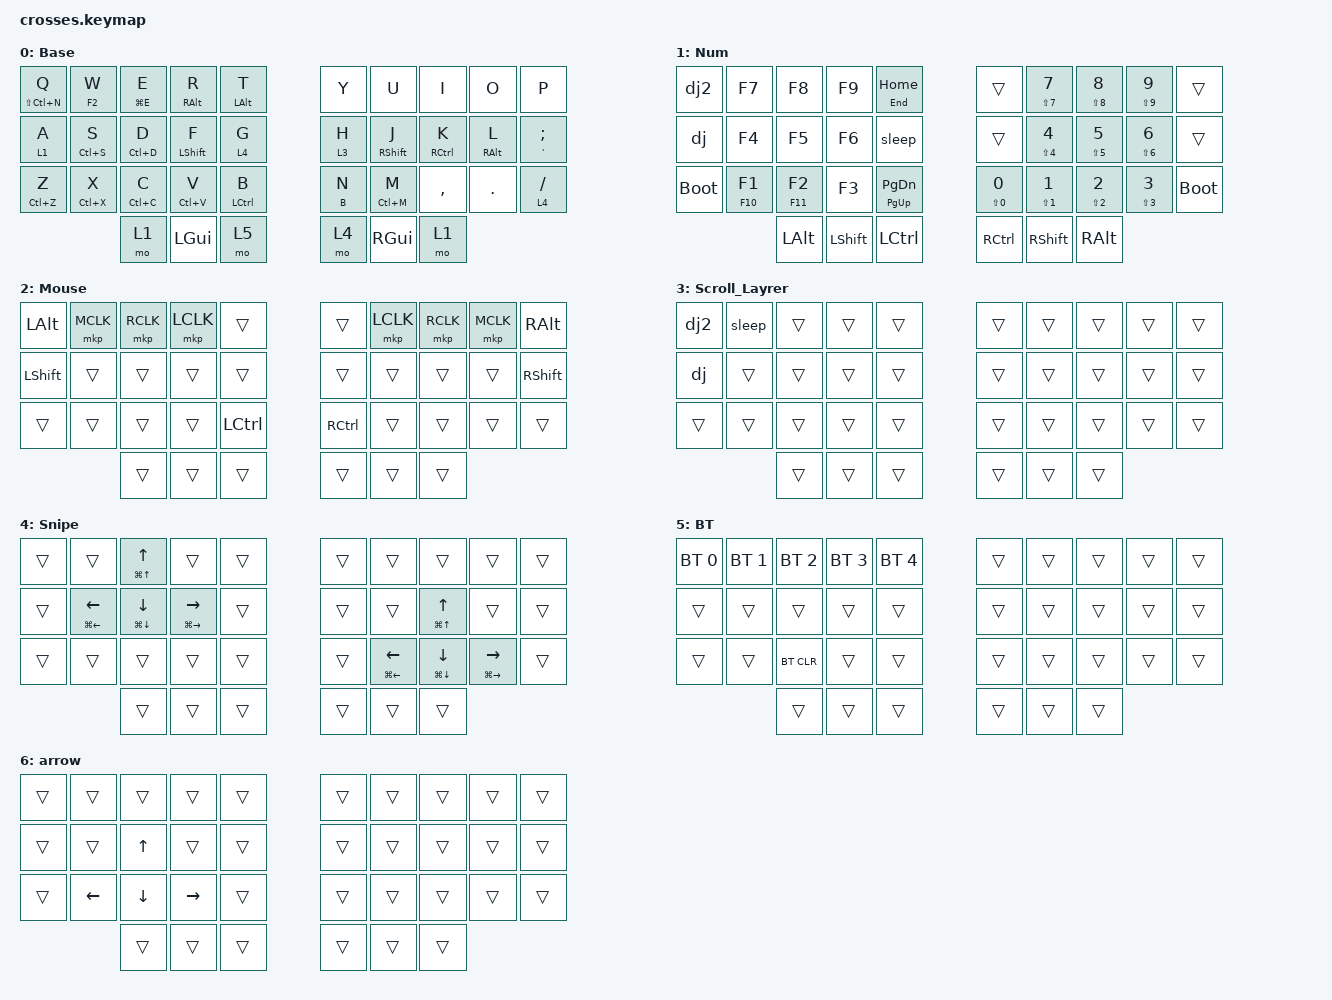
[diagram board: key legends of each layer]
#include <behaviors.dtsi>
#include <dt-bindings/zmk/bt.h>
#include <dt-bindings/zmk/keys.h>
#include <dt-bindings/zmk/pointing.h>

&lt {
    tapping-term-ms = <200>;
    quick-tap-ms = <150>;
    flavor = "balanced";
};

/ {
    chosen { zmk,physical-layout = &gggw_crosses_36_layout; };

    behaviors {
        as: auto_shift {
            compatible = "zmk,behavior-hold-tap";
            #binding-cells = <2>;
            tapping_term_ms = <200>;
            quick_tap_ms = <0>;
            flavor = "tap-preferred";
            bindings = <&kp>, <&kp>;
        };

        hm: my_homerow_mod {
            compatible = "zmk,behavior-hold-tap";
            label = "MY_HOMEROW_MOD";
            bindings = <&kp>, <&kp>;

            #binding-cells = <2>;
            tapping-term-ms = <220>;
            flavor = "tap-preferred";
        };

        hml: hmlayer {
            compatible = "zmk,behavior-hold-tap";
            label = "Home_ROW_Layer";
            bindings = <&mo>, <&kp>;

            #binding-cells = <2>;
            tapping-term-ms = <200>;
            flavor = "tap-preferred";
            quick-tap-ms = <130>;
        };
    };

    combos {
        compatible = "zmk,combos";

        esc_del {
            bindings = <&hm DEL ESC>;
            key-positions = <0 1>;
        };

        exclam {
            bindings = <&kp LS(NUMBER_1)>;
            key-positions = <15 16>;
        };

        slash_quet {
            bindings = <&kp RS(SLASH)>;
            key-positions = <25 16>;
        };

        minus {
            bindings = <&kp MINUS>;
            key-positions = <3 12>;
            layers = <0 2>;
        };

        plus {
            bindings = <&kp EQUAL>;
            key-positions = <3 2>;
            layers = <0 2>;
        };

        space {
            bindings = <&kp SPACE>;
            key-positions = <13 12>;
        };

        enter_left {
            bindings = <&kp ENTER>;
            key-positions = <11 12>;
        };

        backspace_right {
            bindings = <&kp BSPC>;
            key-positions = <16 17>;
        };

        enter_right {
            bindings = <&kp ENTER>;
            key-positions = <17 18>;
        };

        back_left {
            bindings = <&kp BACKSPACE>;
            key-positions = <13 22>;
        };

        brace {
            bindings = <&hm RIGHT_BRACKET RIGHT_PARENTHESIS>;
            key-positions = <8 17>;
        };

        braceL {
            bindings = <&hm LEFT_BRACKET LEFT_PARENTHESIS>;
            key-positions = <1 12>;
        };

        tap {
            bindings = <&kp TAB>;
            key-positions = <13 2>;
        };

        tride {
            bindings = <&kp GRAVE>;
            key-positions = <11 2>;
        };

        delete {
            bindings = <&kp DELETE>;
            key-positions = <16 25>;
        };

        del {
            bindings = <&kp DEL>;
            key-positions = <24 13>;
        };

        capture {
            bindings = <&kp LG(LS(S))>;
            key-positions = <4 3>;
        };

        volumeup {
            bindings = <&kp C_VOLUME_UP>;
            key-positions = <27 28>;
        };

        volumedown {
            bindings = <&kp C_VOLUME_DOWN>;
            key-positions = <26 27>;
        };

        csd {
            bindings = <&kp LC(LS(D))>;
            key-positions = <24 12>;
        };

        p {
            bindings = <&kp P>;
            key-positions = <14 13>;
        };

        f {
            bindings = <&kp NUMBER_4>;
            key-positions = <3 24>;
        };

        preview {
            bindings = <&mkp MB5>;
            key-positions = <3 15>;
        };

        beforef {
            bindings = <&mkp MB4>;
            key-positions = <2 15>;
        };

        wintab {
            bindings = <&kp LG(TAB)>;
            key-positions = <2 13 24>;
        };

        capslock {
            bindings = <&kp CAPS>;
            key-positions = <10 11>;
        };

        mute {
            bindings = <&kp C_MUTE>;
            key-positions = <26 28>;
        };

        n3 {
            bindings = <&kp NUMBER_3>;
            key-positions = <24 2>;
        };

        n2 {
            bindings = <&kp NUMBER_2>;
            key-positions = <24 1>;
        };

        n1 {
            bindings = <&kp NUMBER_1>;
            key-positions = <24 0>;
        };

        n5 {
            bindings = <&kp N5>;
            key-positions = <24 4>;
        };

        n6 {
            bindings = <&kp NUMBER_6>;
            key-positions = <25 5>;
        };

        n7 {
            bindings = <&kp N7>;
            key-positions = <25 6>;
        };

        n8 {
            bindings = <&kp N8>;
            key-positions = <25 7>;
        };

        n9 {
            bindings = <&kp N9>;
            key-positions = <25 8>;
        };

        n0 {
            bindings = <&kp N0>;
            key-positions = <25 9>;
        };

        batang {
            bindings = <&kp LG(D)>;
            key-positions = <4 3 24>;
        };

        n6_l {
            bindings = <&kp NUMBER_6>;
            key-positions = <23 0>;
        };

        n7_l {
            bindings = <&kp N7>;
            key-positions = <23 1>;
        };

        n8_l {
            bindings = <&kp N8>;
            key-positions = <23 2>;
        };

        n9_l {
            bindings = <&kp N9>;
            key-positions = <3 23>;
        };

        n0_l {
            bindings = <&kp N0>;
            key-positions = <23 4>;
        };

        file {
            bindings = <&kp C_AL_FILES>;
            key-positions = <4 3 23>;
        };

        altf4 {
            bindings = <&kp LA(F4)>;
            key-positions = <2 3 24>;
        };

        workmanager {
            bindings = <&kp LS(LC(ESC))>;
            key-positions = <0 1 24>;
        };
    };

    macros {
        dj: dj {
            compatible = "zmk,behavior-macro";
            #binding-cells = <0>;
            bindings = <&kp I &kp O &kp P &kp STAR &kp N6 &kp N4 &kp N3 &kp N5 &kp N1 &kp N8 &kp RET>;
            label = "DJ";
        };

        dj2: dj2 {
            compatible = "zmk,behavior-macro";
            #binding-cells = <0>;
            bindings = <&kp NUMBER_3 &kp N5 &kp NUMBER_1 &kp NUMBER_8>;
            label = "DJ2";
        };

        sleep: sleep {
            compatible = "zmk,behavior-macro";
            #binding-cells = <0>;
            bindings = <&kp LG(X) &kp U &kp S>;
            label = "SLEEP";
            wait-ms = <1000>;
        };
    };

    keymap {
        compatible = "zmk,keymap";

        default_layer {
            display-name = "Base";
            bindings = <
&hm LS(LC(N)) Q  &hm F2 W     &hm LG(E) E  &hm RIGHT_ALT R   &hm LEFT_ALT T  &kp Y     &kp U              &kp I        &kp O            &kp P
&hml 1 A         &hm LC(S) S  &hm LC(D) D  &hm LEFT_SHIFT F  &hml 4 G        &hml 3 H  &hm RIGHT_SHIFT J  &hm RCTRL K  &hm RIGHT_ALT L  &hm SQT SEMICOLON
&hm LC(Z) Z      &hm LC(X) X  &hm LC(C) C  &hm LC(V) V       &hm LCTRL B     &hm B N   &hm LC(M) M        &kp COMMA    &kp DOT          &hml 4 SLASH
                              &mo 1        &kp LGUI          &mo 5           &mo 4     &kp RGUI           &mo 1
            >;
        };

        Num_layer {
            display-name = "Num";
            bindings = <
&dj2         &kp F7      &kp F8      &kp F9     &hm END HOME           &trans         &hm LS(N7) N7              &hm LS(N8) N8              &hm LS(N9) N9              &trans
&dj          &kp F4      &kp F5      &kp F6     &sleep                 &trans         &hm LS(NUMBER_4) NUMBER_4  &hm LS(N5) N5              &hm LS(NUMBER_6) NUMBER_6  &trans
&bootloader  &hm F10 F1  &hm F11 F2  &kp F3     &hm PAGE_UP PAGE_DOWN  &hm LS(N0) N0  &hm LS(N1) NUMBER_1        &hm LS(NUMBER_2) NUMBER_2  &hm LS(NUMBER_3) NUMBER_3  &bootloader
                         &kp LALT    &kp LSHFT  &kp LCTRL              &kp RCTRL      &kp RIGHT_SHIFT            &kp RIGHT_ALT
            >;
        };

        mouse_layer {
            display-name = "Mouse";
            bindings = <
&kp LEFT_ALT  &mkp MCLK  &mkp RCLK  &mkp LCLK  &trans     &trans     &mkp LCLK  &mkp RCLK  &mkp MCLK  &kp RIGHT_ALT
&kp LSHFT     &trans     &trans     &trans     &trans     &trans     &trans     &trans     &trans     &kp RIGHT_SHIFT
&trans        &trans     &trans     &trans     &kp LCTRL  &kp RCTRL  &trans     &trans     &trans     &trans
                         &trans     &trans     &trans     &trans     &trans     &trans
            >;
        };

        Scroll_Layrer {
            bindings = <
&dj2    &sleep  &trans  &trans  &trans  &trans  &trans  &trans  &trans  &trans
&dj     &trans  &trans  &trans  &trans  &trans  &trans  &trans  &trans  &trans
&trans  &trans  &trans  &trans  &trans  &trans  &trans  &trans  &trans  &trans
                &trans  &trans  &trans  &trans  &trans  &trans
            >;
        };

        Snipe_Layer {
            bindings = <
&trans  &trans                         &hm LG(UP_ARROW) UP_ARROW      &trans                           &trans  &trans  &trans                         &trans                         &trans                           &trans
&trans  &hm LG(LEFT_ARROW) LEFT_ARROW  &hm LG(DOWN_ARROW) DOWN_ARROW  &hm LG(RIGHT_ARROW) RIGHT_ARROW  &trans  &trans  &trans                         &hm LG(UP_ARROW) UP_ARROW      &trans                           &trans
&trans  &trans                         &trans                         &trans                           &trans  &trans  &hm LG(LEFT_ARROW) LEFT_ARROW  &hm LG(DOWN_ARROW) DOWN_ARROW  &hm LG(RIGHT_ARROW) RIGHT_ARROW  &trans
                                       &trans                         &trans                           &trans  &trans  &trans                         &trans
            >;

            label = "Snipe";
        };

        BT_Layer {
            bindings = <
&bt BT_SEL 0  &bt BT_SEL 1  &bt BT_SEL 2  &bt BT_SEL 3  &bt BT_SEL 4  &trans  &trans  &trans  &trans  &trans
&trans        &trans        &trans        &trans        &trans        &trans  &trans  &trans  &trans  &trans
&trans        &trans        &bt BT_CLR    &trans        &trans        &trans  &trans  &trans  &trans  &trans
                            &trans        &trans        &trans        &trans  &trans  &trans
            >;

            label = "BT";
        };

        arrow {
            bindings = <
&trans  &trans          &trans          &trans           &trans  &trans  &trans  &trans  &trans  &trans
&trans  &trans          &kp UP_ARROW    &trans           &trans  &trans  &trans  &trans  &trans  &trans
&trans  &kp LEFT_ARROW  &kp DOWN_ARROW  &kp RIGHT_ARROW  &trans  &trans  &trans  &trans  &trans  &trans
                        &trans          &trans           &trans  &trans  &trans  &trans
            >;
        };
    };
};
